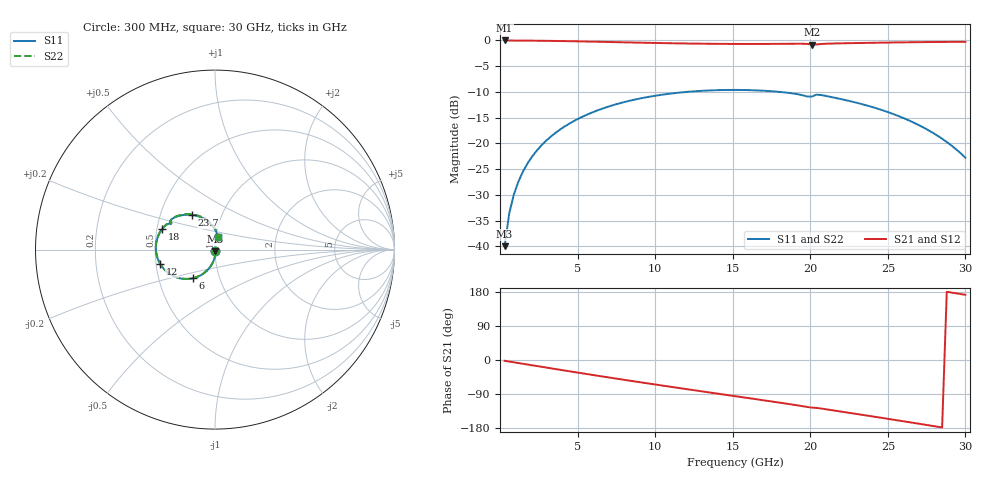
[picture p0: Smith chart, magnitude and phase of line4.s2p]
! Created Thu Feb 13 09:00:53 2025
! List of port names and net name(s): example Port n = <port_name> <net_name1> <net_name2> ...
! Port 1 = P1 N__8 N__7 N_gnd
! Port 2 = P4 N__10 N__11 N__9
# hz S ma R 50
! 2 Port Network Data from data block
! freq  magS11  angS11  magS21  angS21  magS12  angS12  magS22  angS22
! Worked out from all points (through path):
!   100 points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, 300 MHz to 30 GHz, reference 50 ohm
!   highest |S21| = -0.03 dB at 300 MHz (marker M1); lowest = -0.8 dB at 20.1 GHz (marker M2)
!   group delay of S21, straight-line fit = 17.1 ps
!   lowest |S11| = -40.0 dB at 300 MHz (marker M3), VSWR 1.02, Z = 50.3 - j0.973 ohm
!   |S11| at or under -10 dB: start of sweep to 12.12 GHz; 17.95 GHz to end of sweep
!   |S22| runs from -40.0 to -9.6 dB; largest |S21 - S12| = 0
!   S11 on the Smith chart (normalised r, x): 300 MHz: 1.01, -0.02; 6 GHz: 0.75, -0.25; 12 GHz: 0.53, -0.10; 18 GHz: 0.53, +0.13; 23.7 GHz: 0.72, +0.30; 30 GHz: 1.02, +0.14
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3e8  0.01002 -74.9  0.997 -2.1  0.997 -2.1  0.01002 -74.9
6e8  0.02094 -83.8  0.996 -4.1  0.996 -4.1  0.02094 -83.8
9e8  0.03193 -88.6  0.9953 -6.1  0.9953 -6.1  0.03193 -88.6
1.2e9  0.04288 -92.1  0.9946 -8.1  0.9946 -8.1  0.04288 -92.2
1.8e9  0.06455 -97.8  0.993 -12.1  0.993 -12.1  0.06456 -97.8
2.4e9  0.08585 -102.6  0.9909 -16.1  0.9909 -16.1  0.08587 -102.7
3.3e9  0.1169 -109.2  0.9871 -22.0  0.9871 -22.0  0.1169 -109.3
5.4e9  0.1836 -123.5  0.9747 -35.8  0.9747 -35.8  0.1836 -123.7
6e9  0.2008 -127.4  0.9706 -39.6  0.9706 -39.6  0.2009 -127.7
8.1e9  0.2533 -140.9  0.9556 -52.9  0.9556 -52.9  0.2534 -141.3
1.02e10  0.2926 -154.0  0.9414 -65.8  0.9414 -65.8  0.2927 -154.5
1.2e10  0.3151 -165.0  0.9316 -76.7  0.9316 -76.7  0.3153 -165.5
1.53e10  0.3298 175.2  0.9223 -96.3  0.9223 -96.3  0.3299 174.5
1.8e10  0.3158 158.9  0.9241 -112.4  0.9241 -112.4  0.316 158.1
1.92e10  0.2995 151.7  0.9267 -119.9  0.9267 -119.9  0.2996 150.7
2.01e10  0.2843 150.2  0.9099 -125.6  0.9099 -125.6  0.2836 149.2
2.07e10  0.2945 144.5  0.9212 -128.0  0.9212 -128.0  0.2944 143.6
2.37e10  0.2318 123.5  0.9446 -146.9  0.9446 -146.9  0.232 122.4
2.52e10  0.1962 113.4  0.9522 -156.5  0.9522 -156.5  0.1964 112.3
2.79e10  0.1265 94.1  0.9629 -174.1  0.9629 -174.1  0.1267 92.9
2.91e10  0.09519 84.5  0.9657 178.0  0.9657 178.0  0.09543 83.4
3e10  0.07245 76.3  0.967 172.0  0.967 172.0  0.07268 75.2
